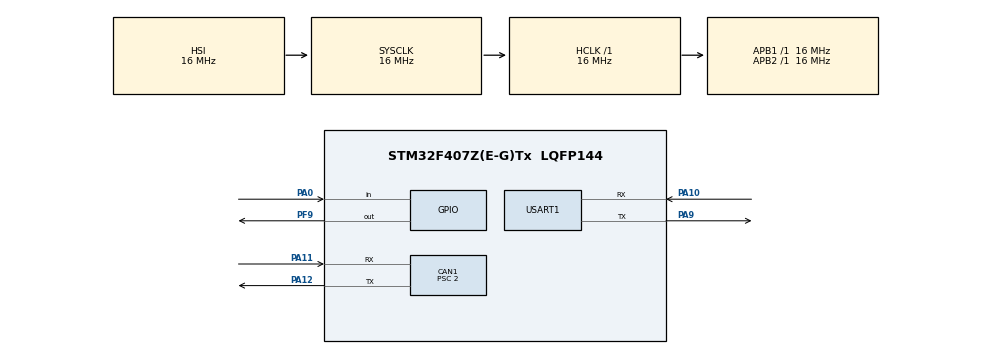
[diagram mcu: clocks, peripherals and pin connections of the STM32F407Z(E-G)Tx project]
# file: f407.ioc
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CAN1.BS1=CAN_BS1_13TQ
CAN1.BS2=CAN_BS2_2TQ
CAN1.AutoBusOff=ENABLE
CAN1.CalculateBaudRate=500000
CAN1.CalculateTimeBit=2000
CAN1.CalculateTimeQuantum=125.0
CAN1.Mode=CAN_MODE_NORMAL
CAN1.Prescaler=2
CAN1.TimeTriggeredMode=ENABLE
FREERTOS.Tasks01=canTx,24,128,StartDefaultTask,Default,NULL,Dynamic,NULL,NULL
Mcu.Family=STM32F4
Mcu.Name=STM32F407Z(E-G)Tx
Mcu.Package=LQFP144
NVIC.CAN1_RX0_IRQn=true\:5\:0\:false\:false\:true\:false\:false\:true\:true
NVIC.PriorityGroup=NVIC_PRIORITYGROUP_4
NVIC.TIM6_DAC_IRQn=true\:15\:0\:false\:false\:true\:false\:false\:true\:true
NVIC.TimeBase=TIM6_DAC_IRQn
NVIC.TimeBaseIP=TIM6
PA0.GPIO_PuPd=GPIO_PULLDOWN
PA0.Signal=GPIO_Input
PA10.Mode=Asynchronous
PA10.Signal=USART1_RX
PA11.GPIO_PuPd=GPIO_PULLUP
PA11.Mode=CAN_Activate
PA11.Signal=CAN1_RX
PA12.Mode=CAN_Activate
PA12.Signal=CAN1_TX
PA13.Mode=Serial_Wire
PA13.Signal=SYS_JTMS-SWDIO
PA14.Mode=Serial_Wire
PA14.Signal=SYS_JTCK-SWCLK
PA9.Mode=Asynchronous
PA9.Signal=USART1_TX
PF9.Signal=GPIO_Output
ProjectManager.HeapSize=0x200
ProjectManager.StackSize=0x400
ProjectManager.TargetToolchain=CMake
RCC.AHBFreq_Value=16000000
RCC.APB1Freq_Value=16000000
RCC.APB2Freq_Value=16000000
RCC.CortexFreq_Value=16000000
RCC.HSE_VALUE=25000000
RCC.HSI_VALUE=16000000
RCC.LSE_VALUE=32768
RCC.SYSCLKFreq_VALUE=16000000
RCC.VCOOutputFreq_Value=192000000
USART1.VirtualMode=VM_ASYNC
VP_FREERTOS_VS_CMSIS_V2.Mode=CMSIS_V2
VP_SYS_VS_tim6.Mode=TIM6
board=custom

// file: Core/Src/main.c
/* USER CODE BEGIN Header */
/**
  ******************************************************************************
  * @file           : main.c
  * @brief          : Main program body
  ******************************************************************************
  * @attention
  *
  * Copyright (c) 2026 STMicroelectronics.
  * All rights reserved.
  *
  * This software is licensed under terms that can be found in the LICENSE file
  * in the root directory of this software component.
  * If no LICENSE file comes with this software, it is provided AS-IS.
  *
  ******************************************************************************
  */
/* USER CODE END Header */
#include "main.h"
#include "cmsis_os.h"

/* USER CODE BEGIN Includes */
#include "app_boot_log.h"
#include "app_can_physical.h"
#include "FreeRTOS.h"
#include "task.h"

/* USER CODE END Includes */

CAN_HandleTypeDef hcan1;

UART_HandleTypeDef huart1;

/* Definitions for defaultTask */
osThreadId_t defaultTaskHandle;
const osThreadAttr_t defaultTask_attributes = {
  .name = "canTx",
  .stack_size = 512U,
  .priority = osPriorityNormal,
};

void SystemClock_Config(void);
static void MX_GPIO_Init(void);
static void MX_USART1_UART_Init(void);
static void MX_CAN1_Init(void);
void StartDefaultTask(void *argument);

int main(void)
{

  /* MCU Configuration--------------------------------------------------------*/

  /* Reset of all peripherals, Initializes the Flash interface and the Systick. */
  HAL_Init();

  /* Configure the system clock */
  SystemClock_Config();

  /* Initialize all configured peripherals */
  MX_GPIO_Init();
  MX_USART1_UART_Init();
  MX_CAN1_Init();
  /* USER CODE BEGIN 2 */
  (void)App_BootLog_Send(&huart1);
  if (App_CanPhysical_Configure(&hcan1) == 0U) {
    Error_Handler();
  }

  /* USER CODE END 2 */

  /* Init scheduler */
  osKernelInitialize();

  /* Create the thread(s) */
  /* creation of defaultTask */
  defaultTaskHandle = osThreadNew(StartDefaultTask, NULL, &defaultTask_attributes);

  /* USER CODE BEGIN RTOS_THREADS */
  if (defaultTaskHandle == NULL) {
    g_can_physical_task_create_failure = 3U;
    Error_Handler();
  }
  if (App_CanPhysical_CreateRxTask() == NULL) {
    Error_Handler();
  }
  static const uint8_t can_ok[] = "CAN_PHYSICAL_RX_START_OK\r\n";
  static const uint8_t can_fail[] = "CAN_PHYSICAL_RX_START_FAIL\r\n";
  const uint8_t *can_marker =
      (App_CanPhysical_Start() != 0U) ? can_ok : can_fail;
  const uint16_t can_marker_size =
      (can_marker == can_ok) ? sizeof(can_ok) - 1U : sizeof(can_fail) - 1U;
  (void)HAL_UART_Transmit(&huart1, (uint8_t *)can_marker,
                          can_marker_size, 50U);
  if (can_marker == can_fail) {
    Error_Handler();
  }
  /* USER CODE END RTOS_THREADS */

  /* Start scheduler */
  osKernelStart();

  /* We should never get here as control is now taken by the scheduler */

  /* Infinite loop */
  while (1)
  {

  }
}

void SystemClock_Config(void)
{
  RCC_OscInitTypeDef RCC_OscInitStruct = {0};
  RCC_ClkInitTypeDef RCC_ClkInitStruct = {0};

  /** Configure the main internal regulator output voltage
  */
  __HAL_RCC_PWR_CLK_ENABLE();
  __HAL_PWR_VOLTAGESCALING_CONFIG(PWR_REGULATOR_VOLTAGE_SCALE1);

  /** Initializes the RCC Oscillators according to the specified parameters
  * in the RCC_OscInitTypeDef structure.
  */
  RCC_OscInitStruct.OscillatorType = RCC_OSCILLATORTYPE_HSI;
  RCC_OscInitStruct.HSIState = RCC_HSI_ON;
  RCC_OscInitStruct.HSICalibrationValue = RCC_HSICALIBRATION_DEFAULT;
  RCC_OscInitStruct.PLL.PLLState = RCC_PLL_NONE;
  if (HAL_RCC_OscConfig(&RCC_OscInitStruct) != HAL_OK)
  {
    Error_Handler();
  }

  /** Initializes the CPU, AHB and APB buses clocks
  */
  RCC_ClkInitStruct.ClockType = RCC_CLOCKTYPE_HCLK|RCC_CLOCKTYPE_SYSCLK
                              |RCC_CLOCKTYPE_PCLK1|RCC_CLOCKTYPE_PCLK2;
  RCC_ClkInitStruct.SYSCLKSource = RCC_SYSCLKSOURCE_HSI;
  RCC_ClkInitStruct.AHBCLKDivider = RCC_SYSCLK_DIV1;
  RCC_ClkInitStruct.APB1CLKDivider = RCC_HCLK_DIV1;
  RCC_ClkInitStruct.APB2CLKDivider = RCC_HCLK_DIV1;

  if (HAL_RCC_ClockConfig(&RCC_ClkInitStruct, FLASH_LATENCY_0) != HAL_OK)
  {
    Error_Handler();
  }
}

static void MX_CAN1_Init(void)
{

  hcan1.Instance = CAN1;
  hcan1.Init.Prescaler = 2;
  hcan1.Init.Mode = CAN_MODE_NORMAL;
  hcan1.Init.SyncJumpWidth = CAN_SJW_1TQ;
  hcan1.Init.TimeSeg1 = CAN_BS1_13TQ;
  hcan1.Init.TimeSeg2 = CAN_BS2_2TQ;
  hcan1.Init.TimeTriggeredMode = ENABLE;
  hcan1.Init.AutoBusOff = ENABLE;
  hcan1.Init.AutoWakeUp = DISABLE;
  hcan1.Init.AutoRetransmission = DISABLE;
  hcan1.Init.ReceiveFifoLocked = DISABLE;
  hcan1.Init.TransmitFifoPriority = DISABLE;
  if (HAL_CAN_Init(&hcan1) != HAL_OK)
  {
    Error_Handler();
  }

}

static void MX_USART1_UART_Init(void)
{

  huart1.Instance = USART1;
  huart1.Init.BaudRate = 115200;
  huart1.Init.WordLength = UART_WORDLENGTH_8B;
  huart1.Init.StopBits = UART_STOPBITS_1;
  huart1.Init.Parity = UART_PARITY_NONE;
  huart1.Init.Mode = UART_MODE_TX_RX;
  huart1.Init.HwFlowCtl = UART_HWCONTROL_NONE;
  huart1.Init.OverSampling = UART_OVERSAMPLING_16;
  if (HAL_UART_Init(&huart1) != HAL_OK)
  {
    Error_Handler();
  }

}

static void MX_GPIO_Init(void)
{
  GPIO_InitTypeDef GPIO_InitStruct = {0};

  /* GPIO Ports Clock Enable */
  __HAL_RCC_GPIOF_CLK_ENABLE();
  __HAL_RCC_GPIOA_CLK_ENABLE();

  /*Configure GPIO pin Output Level */
  HAL_GPIO_WritePin(GPIOF, GPIO_PIN_9, GPIO_PIN_RESET);

  /*Configure GPIO pin : PF9 */
  GPIO_InitStruct.Pin = GPIO_PIN_9;
  GPIO_InitStruct.Mode = GPIO_MODE_OUTPUT_PP;
  GPIO_InitStruct.Pull = GPIO_NOPULL;
  GPIO_InitStruct.Speed = GPIO_SPEED_FREQ_LOW;
  HAL_GPIO_Init(GPIOF, &GPIO_InitStruct);

  /*Configure GPIO pin : PA0 */
  GPIO_InitStruct.Pin = GPIO_PIN_0;
  GPIO_InitStruct.Mode = GPIO_MODE_INPUT;
  GPIO_InitStruct.Pull = GPIO_PULLDOWN;
  HAL_GPIO_Init(GPIOA, &GPIO_InitStruct);

}

void StartDefaultTask(void *argument)
{
  /* USER CODE BEGIN 5 */
  App_CanPhysical_TxTask(argument);
  /* USER CODE END 5 */
}

void HAL_TIM_PeriodElapsedCallback(TIM_HandleTypeDef *htim)
{
  if (htim->Instance == TIM6) {
    HAL_IncTick();
  }
}

void vApplicationStackOverflowHook(TaskHandle_t task, char *task_name)
{
  (void)task;
  (void)task_name;
  g_can_physical_stack_overflow_fault = 1U;
  taskDISABLE_INTERRUPTS();
  for (;;) {
  }
}

void vApplicationMallocFailedHook(void)
{
  g_can_physical_task_create_failure = 4U;
  g_can_physical_malloc_failed_fault = 1U;
  taskDISABLE_INTERRUPTS();
  for (;;) {
  }
}

void Error_Handler(void)
{
  __disable_irq();
  while (1)
  {
  }
}
